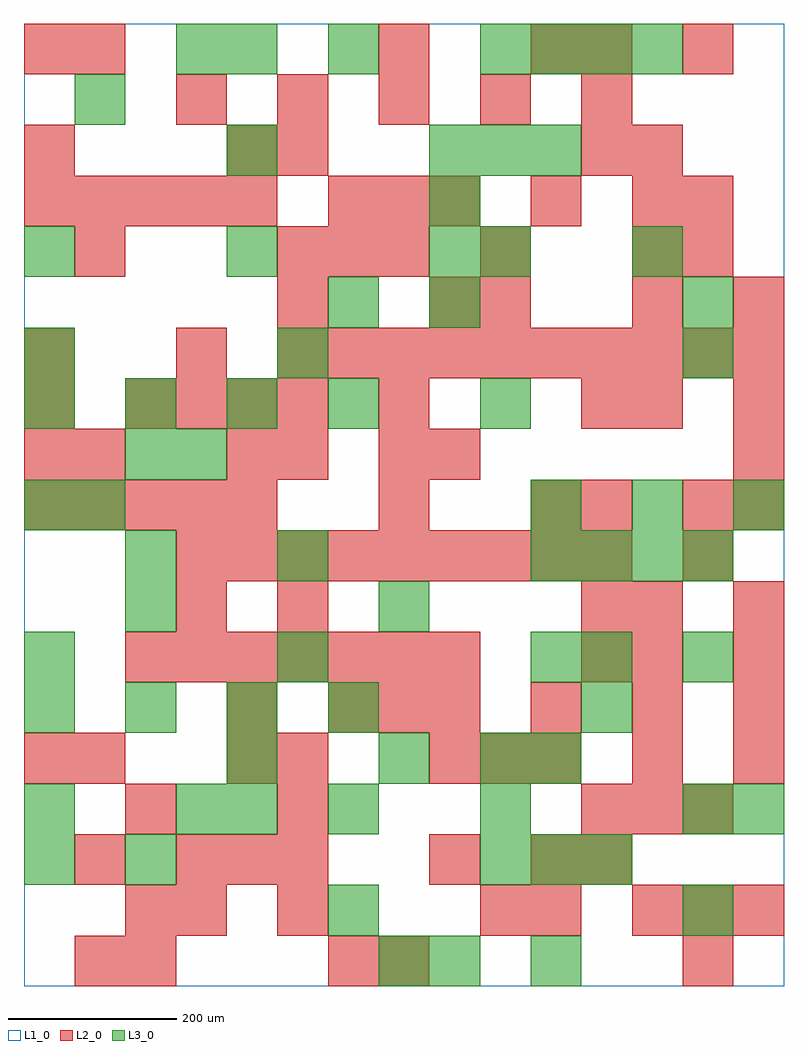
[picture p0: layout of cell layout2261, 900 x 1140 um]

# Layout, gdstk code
import gdstk
lib = gdstk.Library(unit=1e-6, precision=1e-09)
def R(c, l, rs):  # rectangles x0, y0, x1, y1
    for r in rs: c.add(gdstk.rectangle(r[:2], r[2:], *l))
def A(c, l, x, y, w, h, nx, ny, dx, dy):  # array of equal rectangles
    R(c, l, [(x+i*dx, y+j*dy, x+i*dx+w, y+j*dy+h) for i in range(nx) for j in range(ny)])
L1_0 = (1, 0)
L2_0 = (2, 0)
L3_0 = (3, 0)

layout2261 = lib.new_cell('layout2261')
R(layout2261, L1_0, [(0,0,900,1140)])
A(layout2261, L2_0, 60, 0, 60, 60, 1, 3, 0, 120)
A(layout2261, L2_0, 720, 60, 60, 60, 3, 1, 60, 0)
A(layout2261, L2_0, 180, 120, 60, 60, 3, 1, 60, 0)
A(layout2261, L2_0, 660, 180, 60, 60, 3, 1, 60, 0)
A(layout2261, L2_0, 300, 240, 60, 60, 1, 5, 0, 180)
A(layout2261, L2_0, 480, 240, 60, 60, 3, 1, 60, 0)
A(layout2261, L2_0, 360, 300, 60, 60, 3, 2, 60, 600)
A(layout2261, L2_0, 600, 300, 60, 60, 3, 1, 120, 0)
A(layout2261, L2_0, 120, 360, 60, 60, 7, 1, 60, 0)
A(layout2261, L2_0, 660, 420, 60, 60, 1, 3, 0, 120)
A(layout2261, L2_0, 180, 480, 60, 60, 9, 1, 60, 0)
A(layout2261, L2_0, 0, 540, 60, 60, 5, 2, 60, 360)
A(layout2261, L2_0, 420, 540, 60, 60, 1, 3, 0, 60)
A(layout2261, L2_0, 840, 540, 60, 60, 1, 3, 0, 60)
A(layout2261, L2_0, 0, 600, 60, 60, 1, 3, 0, 60)
A(layout2261, L2_0, 60, 600, 60, 60, 1, 3, 0, 240)
A(layout2261, L2_0, 120, 660, 60, 60, 4, 1, 60, 0)
A(layout2261, L2_0, 300, 720, 60, 60, 10, 1, 60, 0)
A(layout2261, L2_0, 720, 780, 60, 60, 1, 4, 0, 60)
A(layout2261, L2_0, 300, 840, 60, 60, 3, 1, 60, 0)
A(layout2261, L2_0, 180, 1020, 60, 60, 5, 1, 120, 0)
R(layout2261, L2_0, [(120,0,180,60), (360,0,420,60), (420,0,480,60), (780,0,840,60), (120,60,180,120), (180,60,240,120), (300,60,360,120), (540,60,600,120), (600,60,660,120), (480,120,540,180), (600,120,660,180), (660,120,720,180), (120,180,180,240), (300,180,360,240), (0,240,60,300), (240,240,300,300), (720,240,780,300), (840,240,900,300), (240,300,300,360), (660,360,720,420), (720,360,780,420), (840,360,900,420), (180,420,240,480), (720,420,780,480), (840,420,900,480), (780,480,840,540), (600,540,660,600), (780,540,840,600), (240,600,300,660), (480,600,540,660), (720,660,780,720), (180,720,240,780), (480,780,540,840), (540,780,600,840), (840,780,900,840), (540,840,600,900), (780,840,840,900), (600,900,660,960), (780,900,840,960), (0,960,60,1020), (240,960,300,1020), (660,960,720,1020), (0,1080,60,1140), (420,1080,480,1140), (600,1080,660,1140), (660,1080,720,1140), (780,1080,840,1140)])
A(layout2261, L3_0, 540, 120, 60, 60, 3, 1, 60, 0)
A(layout2261, L3_0, 0, 300, 60, 60, 4, 2, 120, 360)
A(layout2261, L3_0, 0, 360, 60, 60, 3, 1, 300, 0)
A(layout2261, L3_0, 600, 480, 60, 60, 4, 1, 60, 0)
A(layout2261, L3_0, 600, 540, 60, 60, 3, 1, 120, 0)
A(layout2261, L3_0, 0, 840, 60, 60, 3, 1, 240, 0)
A(layout2261, L3_0, 480, 960, 60, 60, 3, 1, 60, 0)
A(layout2261, L3_0, 540, 1080, 60, 60, 4, 1, 60, 0)
R(layout2261, L3_0, [(420,0,480,60), (480,0,540,60), (600,0,660,60), (360,60,420,120), (780,60,840,120), (0,120,60,180), (120,120,180,180), (0,180,60,240), (180,180,240,240), (240,180,300,240), (360,180,420,240), (540,180,600,240), (780,180,840,240), (840,180,900,240), (240,240,300,300), (420,240,480,300), (540,240,600,300), (600,240,660,300), (660,300,720,360), (660,360,720,420), (780,360,840,420), (120,420,180,480), (420,420,480,480), (120,480,180,540), (300,480,360,540), (0,540,60,600), (60,540,120,600), (120,600,180,660), (180,600,240,660), (540,660,600,720), (0,720,60,780), (300,720,360,780), (780,720,840,780), (360,780,420,840), (480,780,540,840), (780,780,840,840), (540,840,600,900), (720,840,780,900), (480,900,540,960), (240,960,300,1020), (60,1020,120,1080), (180,1080,240,1140), (240,1080,300,1140), (360,1080,420,1140)])

lib.write_gds('layout2261.gds')
